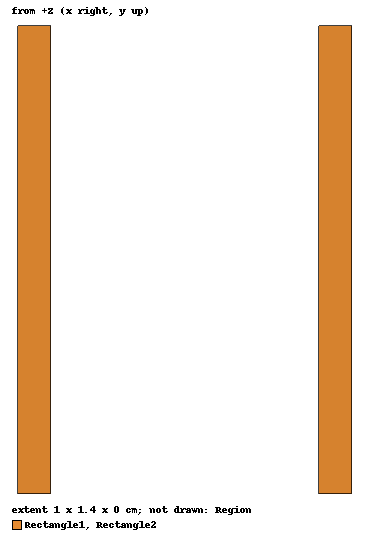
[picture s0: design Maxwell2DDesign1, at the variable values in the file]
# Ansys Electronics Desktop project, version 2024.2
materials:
  vacuum: permittivity=1
  copper: permeability=0.999991 conductivity=58000000
  air: permittivity=1.0006 permeability=1.0000004

design Maxwell2DDesign1 (Maxwell 2D, Electrostatic, XY geometry, model units cm)
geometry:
  Rectangle1 [copper] = rectangle(corner=(-0.5cm, -0.7cm, 0cm), x_size=0.1cm, y_size=1.4cm)
  Rectangle2 [copper] = rectangle(corner=(0.4cm, -0.7cm, 0cm), x_size=0.1cm, y_size=1.4cm)
  Region [air] = region(percentage_offset: +X=200, -X=200, +Y=200, -Y=200, +Z=0, -Z=0)
  point Point1 = (0cm, 0cm, 0cm)
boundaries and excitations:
  Balloon1: Balloon Edges=Region.edge(all 4) IsOfTypeVoltage=true
  Voltage1: Voltage Objects=Rectangle1 Value=100V
  Voltage2: Voltage Objects=Rectangle2 Value=0V
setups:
  Setup1: Electrostatic MaximumPasses=10 MinimumPasses=2 MinimumConvergedPasses=1 PercentRefinement=30 PercentError=1 ConstantDelta=0s NonLinearResidual=0.001
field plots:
  Voltage1: Voltage over Region on Setup1 : LastAdaptive
  E_Vector1: E over Region on Setup1 : LastAdaptive
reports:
  Calculator Expressions Table 1: Voltage vs X on Setup1 : LastAdaptive
  Calculator Expressions Table 2: Mag_E vs X on Setup1 : LastAdaptive
